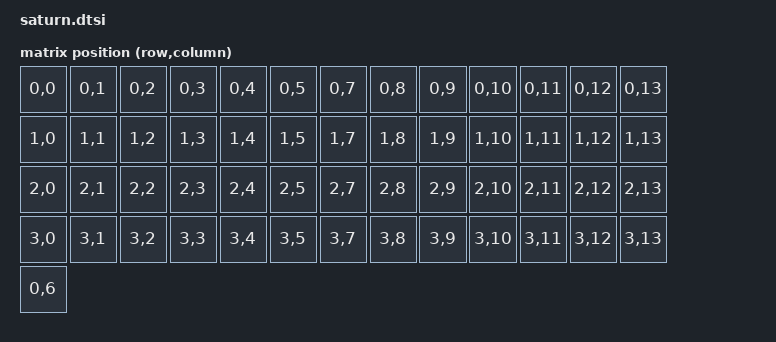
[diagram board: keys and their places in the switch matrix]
/*
 * Copyright (c) 2020 The ZMK Contributors
 *
 * SPDX-License-Identifier: MIT
 */

#include "saturn-layouts.dtsi"
#include <dt-bindings/zmk/matrix_transform.h>

/ {
    chosen {
        zmk,physical-layout = &physical_layout_saturn;
    };

    matrix_transform0: matrix_transform0 {
        compatible = "zmk,matrix-transform";
        columns = <14>;
        rows = <4>;
        map = <
            RC(0,0) RC(0,1) RC(0,2) RC(0,3) RC(0,4) RC(0,5) RC(0,7) RC(0,8) RC(0,9) RC(0,10) RC(0,11) RC(0,12) RC(0,13)
            RC(1,0) RC(1,1) RC(1,2) RC(1,3) RC(1,4) RC(1,5) RC(1,7) RC(1,8) RC(1,9) RC(1,10) RC(1,11) RC(1,12) RC(1,13)
            RC(2,0) RC(2,1) RC(2,2) RC(2,3) RC(2,4) RC(2,5) RC(2,7) RC(2,8) RC(2,9) RC(2,10) RC(2,11) RC(2,12) RC(2,13)
            RC(3,0) RC(3,1) RC(3,2) RC(3,3) RC(3,4) RC(3,5) RC(3,7) RC(3,8) RC(3,9) RC(3,10) RC(3,11) RC(3,12) RC(3,13)
            RC(0,6)
        >;
    };
};

&physical_layout_saturn {
    transform = <&matrix_transform0>;
};

// The nrfmicro_13 board drives its blue LED from P1.10, which the Saturn
// matrix uses as row0 on both halves; disable it so the pin is free.
&blue_led {
    status = "disabled";
};

// Encoder on the left (peripheral) half.
// If the encoder is not behaving as expected,
// update steps and triggers-per-rotation to match your hardware.
// Pin assignments are done in the part overlays.
/ {
    encoder_left0: encoder_left0 {
        compatible = "alps,ec11";
        steps = <80>;
        status = "disabled";
    };

    sensors: sensors {
        compatible = "zmk,keymap-sensors";
        sensors = <&encoder_left0>;
        triggers-per-rotation = <20>;
    };
};
